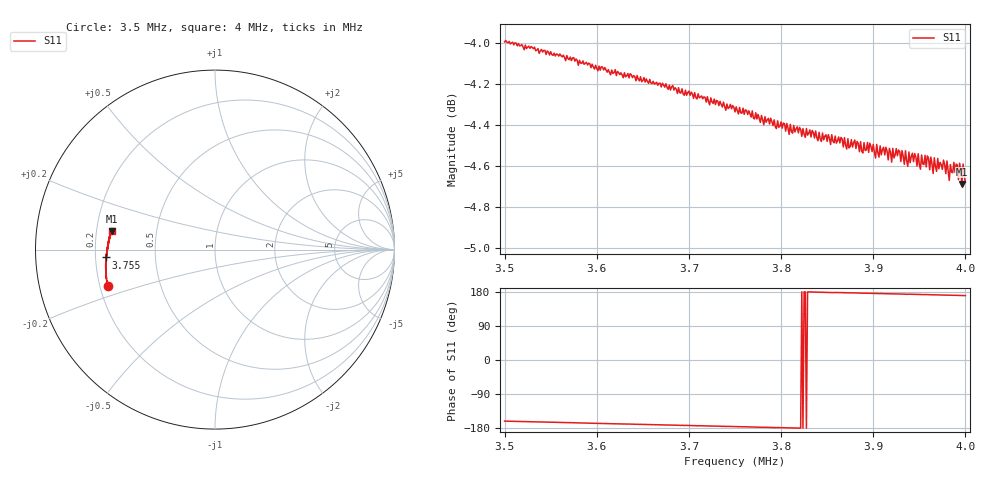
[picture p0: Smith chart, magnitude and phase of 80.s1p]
# Hz S RI R 50
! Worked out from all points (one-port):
!   401 points, 3.5 MHz to 4 MHz, reference 50 ohm
!   lowest |S11| = -4.7 dB at 3.996 MHz (marker M1), VSWR 3.80, Z = 13.3 + j4.08 ohm
!   |S11| at or under -10 dB: nowhere
!   S11 on the Smith chart (normalised r, x): 3.5 MHz: 0.23, -0.16; 3.755 MHz: 0.24, -0.03; 4 MHz: 0.27, +0.08
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3500000  -0.5979 -0.2026
3562500  -0.6047 -0.1619
3598750  -0.6071 -0.1401
3625000  -0.6079 -0.1208
3687500  -0.6077 -0.0829
3723750  -0.6086 -0.0628
3732500  -0.6066 -0.0553
3750000  -0.6054 -0.0436
3755000  -0.6069 -0.0439
3763750  -0.605 -0.0368
3778750  -0.6051 -0.0287
3812500  -0.5998 -0.00499
3875000  -0.5945 0.0317
3881250  -0.5938 0.0331
3890000  -0.5955 0.0363
3898750  -0.5921 0.0439
3903750  -0.5944 0.0444
3926250  -0.5893 0.0595
3937500  -0.5848 0.0683
3943750  -0.5863 0.0691
3952500  -0.588 0.0733
3957500  -0.5835 0.077
3966250  -0.586 0.0816
3975000  -0.5812 0.0878
3983750  -0.5825 0.0899
3988750  -0.579 0.0953
3996250  -0.5741 0.1015
4000000  -0.5741 0.1041
